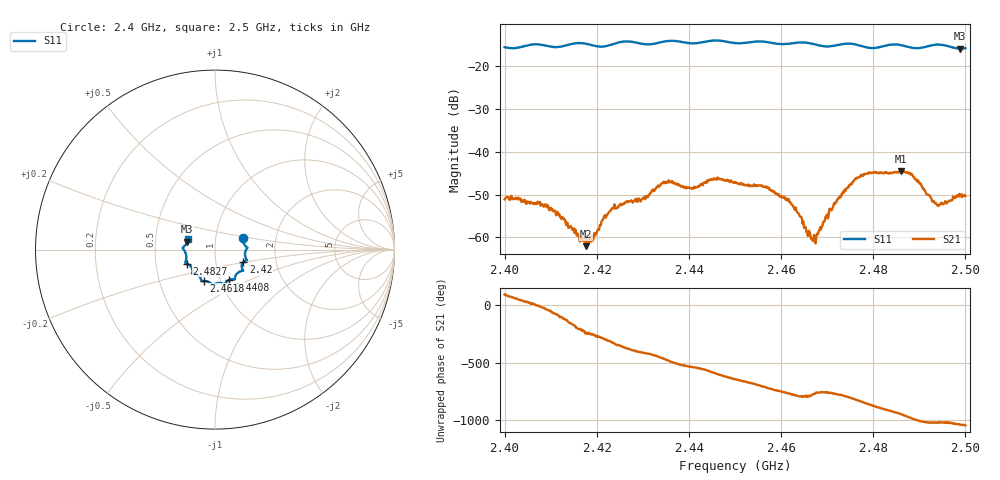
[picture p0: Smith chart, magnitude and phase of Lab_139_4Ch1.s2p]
# Hz S RI R 50
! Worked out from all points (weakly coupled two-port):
!   601 points, 2.4 GHz to 2.5 GHz, reference 50 ohm
!   highest |S21| = -44.45 dB at 2.486 GHz (marker M1); lowest = -62.1 dB at 2.4177 GHz (marker M2)
!   lowest |S11| = -15.8 dB at 2.4988 GHz (marker M3), VSWR 1.39, Z = 36.4 + j3.33 ohm
!   |S11| at or under -10 dB: start of sweep to end of sweep
!   S12 and S22 are empty: the file has one direction only
!   S11 on the Smith chart (normalised r, x): 2.4 GHz: 1.36, +0.17; 2.42 GHz: 1.36, -0.19; 2.4408 GHz: 1.10, -0.39; 2.4618 GHz: 0.84, -0.30; 2.4827 GHz: 0.72, -0.12; 2.5 GHz: 0.73, +0.09
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2.4e9  0.1561 0.062  -0.00021 0.00277  0 0  0 0
2.409e9  0.175 0.00253  0.00198 -0.00137  0 0  0 0
2.416667e9  0.1781 -0.0595  -0.000772 0.000609  0 0  0 0
2.417667e9  0.1743 -0.0603  -0.000436 0.000654  0 0  0 0
2.42e9  0.1578 -0.0692  -9.24e-05 0.00113  0 0  0 0
2.423333e9  0.1501 -0.1017  0.00177 0.00129  0 0  0 0
2.433333e9  0.112 -0.1521  0.00025 -0.00403  0 0  0 0
2.440833e9  0.0788 -0.1688  -0.00371 -0.000167  0 0  0 0
2.446e9  0.0514 -0.1948  -0.0028 0.00379  0 0  0 0
2.45e9  0.028 -0.1858  0.000875 0.00423  0 0  0 0
2.456833e9  -0.0177 -0.1927  0.00391 0.000273  0 0  0 0
2.461833e9  -0.0602 -0.175  0.00179 -0.00186  0 0  0 0
2.466667e9  -0.0768 -0.1685  0.000505 -0.000818  0 0  0 0
2.467833e9  -0.08 -0.1596  0.000862 -0.000682  0 0  0 0
2.476167e9  -0.126 -0.1303  -0.000722 -0.00484  0 0  0 0
2.482667e9  -0.1573 -0.078  -0.00563 0.000543  0 0  0 0
2.483333e9  -0.1614 -0.0765  -0.00551 0.00124  0 0  0 0
2.486e9  -0.1642 -0.0684  -0.00417 0.00431  0 0  0 0
2.4885e9  -0.1596 -0.0428  -0.000486 0.00532  0 0  0 0
2.493833e9  -0.1802 0.00776  0.00117 0.00207  0 0  0 0
2.498833e9  -0.1552 0.0445  0.00216 0.00208  0 0  0 0
2.5e9  -0.152 0.0615  0.00247 0.00177  0 0  0 0
